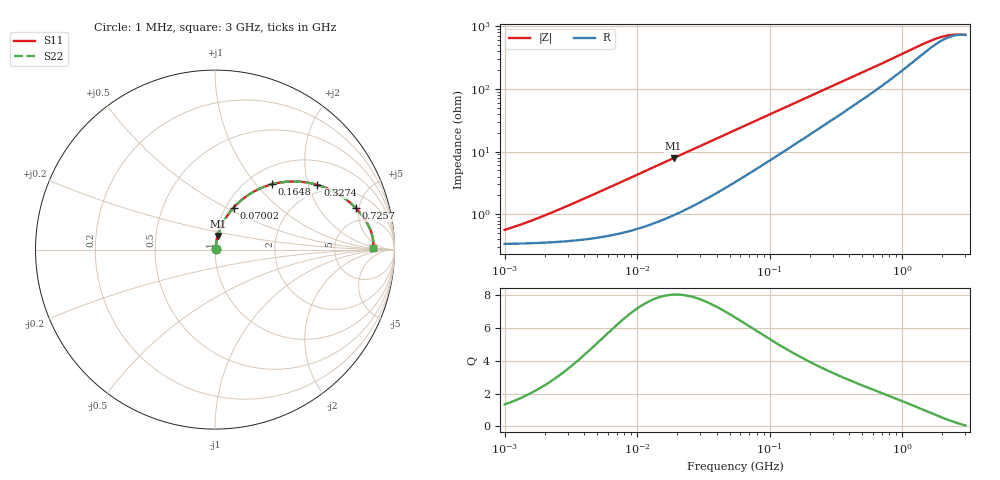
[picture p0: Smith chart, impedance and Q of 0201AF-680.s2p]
# MHz  S  MA  R  50
!Freq  MagS11  AngS11  MagS21  AngS21  MagS12  AngS12  MagS22  AngS22
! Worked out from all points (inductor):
!   806 points, 1 MHz to 3 GHz, reference 50 ohm
!   read as one part in series: L = 70 nH near 2.473 MHz
!   highest Q = 8.05 at 18.83 MHz (marker M1), where L = 65.9 nH
!   S11 on the Smith chart (normalised r, x): 1 MHz: 1.01, +0.01; 70.02 MHz: 1.09, +0.55; 164.8 MHz: 1.28, +1.22; 327.4 MHz: 1.73, +2.29; 725.7 MHz: 3.33, +4.64; 3 GHz: 15, +1
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1  0.005659 53.0  0.9966 -0.3  0.9966 -0.3  0.005659 53.0
1.244716  0.00657 58.3  0.9966 -0.3  0.9966 -0.3  0.00657 58.3
1.728525  0.008469 65.2  0.9965 -0.4  0.9965 -0.4  0.008469 65.2
3.831647  0.01713 75.8  0.9959 -1.0  0.9959 -1.0  0.01713 75.8
14.53616  0.06064 79.3  0.9906 -3.4  0.9906 -3.4  0.06064 79.3
18.82805  0.07753 78.5  0.9875 -4.4  0.9875 -4.4  0.07753 78.5
34.5469  0.1369 74.7  0.9728 -7.8  0.9728 -7.8  0.1369 74.7
55.14595  0.2088 69.5  0.9474 -11.9  0.9474 -11.9  0.2088 69.5
70.02073  0.2566 66.1  0.926 -14.7  0.926 -14.7  0.2566 66.1
107.4102  0.3613 58.3  0.8665 -20.8  0.8665 -20.8  0.3613 58.3
164.7649  0.4841 48.8  0.7725 -28.1  0.7725 -28.1  0.4841 48.8
209.2077  0.5544 43.1  0.7051 -32.5  0.7051 -32.5  0.5544 43.1
260.4042  0.616 37.7  0.6364 -36.3  0.6364 -36.3  0.616 37.7
327.3705  0.6747 32.3  0.5608 -40.0  0.5608 -40.0  0.6747 32.3
492.2842  0.7602 23.4  0.4278 -45.0  0.4278 -45.0  0.7602 23.4
725.6872  0.818 16.4  0.3154 -47.0  0.3154 -47.0  0.818 16.4
793.6734  0.8284 14.9  0.2923 -46.9  0.2923 -46.9  0.8284 14.9
1217.477  0.8649 9.0  0.1985 -42.8  0.1985 -42.8  0.8649 9.0
1592.715  0.8775 5.9  0.1557 -35.2  0.1557 -35.2  0.8775 5.9
1905.122  0.8816 4.1  0.1359 -27.4  0.1359 -27.4  0.8816 4.1
2395.048  0.8821 2.1  0.1226 -15.0  0.1226 -15.0  0.8821 2.1
3000  0.8778 0.4  0.1224 -3.1  0.1224 -3.1  0.8778 0.4
